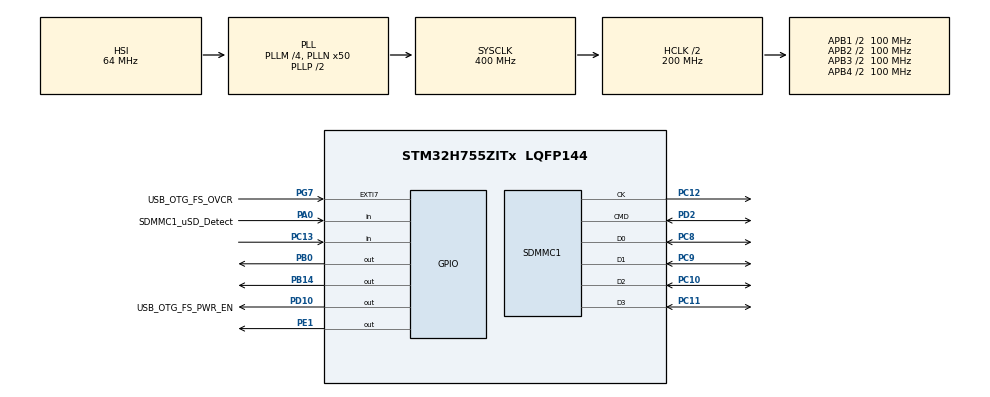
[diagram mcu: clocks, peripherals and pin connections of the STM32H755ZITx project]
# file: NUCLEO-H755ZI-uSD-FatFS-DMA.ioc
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CORTEX_M7.AccessPermission_S-Cortex_Memory_Protection_Unit_Region1_Settings_S=MPU_REGION_FULL_ACCESS
CORTEX_M7.BaseAddress_S-Cortex_Memory_Protection_Unit_Region1_Settings_S=0x24000000
CORTEX_M7.CPU_DCache=Enabled
CORTEX_M7.CPU_ICache=Enabled
CORTEX_M7.Enable_S-Cortex_Memory_Protection_Unit_Region1_Settings_S=MPU_REGION_ENABLE
CORTEX_M7.Size_S-Cortex_Memory_Protection_Unit_Region1_Settings_S=MPU_REGION_SIZE_512KB
CORTEX_M7.TypeExtField_S-Cortex_Memory_Protection_Unit_Region1_Settings_S=MPU_TEX_LEVEL1
CORTEX_M7.default_mode_Activation=1
CortexM4.IPs=FATFS_M4\:I,FREERTOS_M4\:I,IWDG2\:I,RCC,WWDG2\:I,DMA,BDMA,MDMA,NVIC2\:I,ETH,USART3,DEBUG,PDM2PCM_M4\:I,PWR,RESMGR_UTILITY,SYS_M4\:I,USB_DEVICE_M4\:I,USB_HOST_M4\:I,CORTEX_M4\:I,GPIO,OPENAMP_M4\:I,VREFBUF,NUCLEO-H755ZI-Q
CortexM7.IPs=FATFS_M7\:I,FREERTOS_M7\:I,IWDG1\:I,RCC\:I,WWDG1\:I,DMA\:I,BDMA\:I,MDMA\:I,NVIC1\:I,ETH\:I,USART3\:I,USB_OTG_FS\:I,SYS\:I,CORTEX_M7\:I,DEBUG\:I,PDM2PCM_M7\:I,PWR\:I,RESMGR_UTILITY\:I,USB_DEVICE_M7\:I,USB_HOST_M7\:I,GPIO\:I,OPENAMP_M7\:I,VREFBUF\:I,NUCLEO-H755ZI-Q\:I,SDMMC1\:I
FATFS.BSP.number=1
FATFS0.BSP.STBoard=false
FATFS0.BSP.api=Unknown
FATFS0.BSP.instance=PA0
FATFS0.BSP.ip=GPIO
FATFS0.BSP.mode=Input
FATFS0.BSP.name=Detect_SDIO
FATFS0.BSP.solution=PA0
FATFS_M7.USE_DMA_CODE_SD=1
Mcu.Family=STM32H7
Mcu.Name=STM32H755ZITx
Mcu.Package=LQFP144
NUCLEO-H755ZI-Q.BUTTON=1
NUCLEO-H755ZI-Q.Bsp_Common_DEMO=true
NUCLEO-H755ZI-Q.LD1=true
NUCLEO-H755ZI-Q.LD2=true
NUCLEO-H755ZI-Q.LD3=true
NUCLEO-H755ZI-Q.VCP=true
NVIC1.EXTI15_10_IRQn=true\:15\:0\:true\:false\:true\:false\:true\:true
NVIC1.PriorityGroup=NVIC_PRIORITYGROUP_4
NVIC1.SDMMC1_IRQn=true\:14\:0\:true\:false\:true\:true\:true\:true
NVIC2.PriorityGroup=NVIC_PRIORITYGROUP_4
PA0.GPIO_Label=SDMMC1_uSD_Detect
PA0.PinAttribute=Free
PA0.Signal=GPIO_Input
PA1.PinAttribute=CortexM7
PA1.Signal=ETH_REF_CLK
PA11.PinAttribute=CortexM7
PA11.Signal=USB_OTG_FS_DM
PA12.PinAttribute=CortexM7
PA12.Signal=USB_OTG_FS_DP
PA2.PinAttribute=CortexM7
PA2.Signal=ETH_MDIO
PA7.PinAttribute=CortexM7
PA7.Signal=ETH_CRS_DV
PA8.PinAttribute=CortexM7
PA8.Signal=USB_OTG_FS_SOF
PA9.PinAttribute=CortexM7
PA9.Signal=USB_OTG_FS_VBUS
PB0.Signal=GPIO_Output
PB13.PinAttribute=CortexM7
PB13.Signal=ETH_TXD1
PB14.Signal=GPIO_Output
PC1.PinAttribute=CortexM7
PC1.Signal=ETH_MDC
PC10.Mode=SD_4_bits_Wide_bus
PC10.PinAttribute=CortexM7
PC10.Signal=SDMMC1_D2
PC11.Mode=SD_4_bits_Wide_bus
PC11.PinAttribute=CortexM7
PC11.Signal=SDMMC1_D3
PC12.Mode=SD_4_bits_Wide_bus
PC12.PinAttribute=CortexM7
PC12.Signal=SDMMC1_CK
PC13.Signal=GPIO_Input
PC14-OSC32_IN\ (OSC32_IN).PinAttribute=Free
PC14-OSC32_IN\ (OSC32_IN).Signal=RCC_OSC32_IN
PC15-OSC32_OUT\ (OSC32_OUT).PinAttribute=Free
PC15-OSC32_OUT\ (OSC32_OUT).Signal=RCC_OSC32_OUT
PC4.PinAttribute=CortexM7
PC4.Signal=ETH_RXD0
PC5.PinAttribute=CortexM7
PC5.Signal=ETH_RXD1
PC8.Mode=SD_4_bits_Wide_bus
PC8.PinAttribute=CortexM7
PC8.Signal=SDMMC1_D0
PC9.Mode=SD_4_bits_Wide_bus
PC9.PinAttribute=CortexM7
PC9.Signal=SDMMC1_D1
PD10.GPIO_Label=USB_OTG_FS_PWR_EN
PD10.PinAttribute=Free
PD10.Signal=GPIO_Output
PD2.Mode=SD_4_bits_Wide_bus
PD2.PinAttribute=CortexM7
PD2.Signal=SDMMC1_CMD
PD8.Signal=USART3_TX
PD9.Signal=USART3_RX
PE1.Signal=GPIO_Output
PG11.PinAttribute=CortexM7
PG11.Signal=ETH_TX_EN
PG13.PinAttribute=CortexM7
PG13.Signal=ETH_TXD0
PG7.GPIO_Label=USB_OTG_FS_OVCR
PG7.PinAttribute=Free
PG7.Signal=GPXTI7
PH0-OSC_IN\ (PH0).PinAttribute=Free
PH0-OSC_IN\ (PH0).Signal=RCC_OSC_IN
PH1-OSC_OUT\ (PH1).PinAttribute=Free
PH1-OSC_OUT\ (PH1).Signal=RCC_OSC_OUT
ProjectManager.HeapSize=M4-0x400,M7-0x400
ProjectManager.StackSize=M4-0x800,M7-0x800
ProjectManager.TargetToolchain=STM32CubeIDE
RCC.ADCFreq_Value=129000000
RCC.APB1Freq_Value=100000000
RCC.APB2Freq_Value=100000000
RCC.APB3Freq_Value=100000000
RCC.APB4Freq_Value=100000000
RCC.CortexFreq_Value=400000000
RCC.D1PPRE=RCC_APB3_DIV2
RCC.D2PPRE1=RCC_APB1_DIV2
RCC.D2PPRE2=RCC_APB2_DIV2
RCC.D3PPRE=RCC_APB4_DIV2
RCC.DIVM1=4
RCC.DIVN1=50
RCC.DIVQ1=4
RCC.HCLKFreq_Value=200000000
RCC.HPRE=RCC_HCLK_DIV2
RCC.PLL2FRACN=0
RCC.PLL3FRACN=0
RCC.PLLFRACN=0
RCC.SYSCLKFreq_VALUE=400000000
RCC.SYSCLKSource=RCC_SYSCLKSOURCE_PLLCLK
RCC.SupplySource=PWR_DIRECT_SMPS_SUPPLY
RCC.USBFreq_Value=200000000
SDMMC1.ClockDiv=SDMMC_NSPEED_CLK_DIV
VP_FATFS_M7_VS_SDIO.Mode=SDIO
VP_NUCLEO-H755ZI-Q_VS_BSP_COMMON.Mode=COMMON
VP_SYS_M4_VS_Systick.Mode=SysTick
board=NUCLEO-H755ZI-Q

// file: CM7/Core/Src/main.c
/* USER CODE BEGIN Header */
/**
  ******************************************************************************
  * @file           : main.c
  * @brief          : Main program body
  ******************************************************************************
  * @attention
  *
  * Copyright (c) 2024 STMicroelectronics.
  * All rights reserved.
  *
  * This software is licensed under terms that can be found in the LICENSE file
  * in the root directory of this software component.
  * If no LICENSE file comes with this software, it is provided AS-IS.
  *
  ******************************************************************************
  */
/* USER CODE END Header */
#include "main.h"
#include "fatfs.h"

/* USER CODE BEGIN PD */

#ifndef HSEM_ID_0
#define HSEM_ID_0 (0U) /* HW semaphore 0*/
#endif

/* USER CODE END PD */

COM_InitTypeDef BspCOMInit;
__IO uint32_t BspButtonState = BUTTON_RELEASED;

SD_HandleTypeDef hsd1;

void SystemClock_Config(void);
static void MPU_Config(void);
static void MX_GPIO_Init(void);
static void MX_SDMMC1_SD_Init(void);
/* USER CODE BEGIN PFP */

static void FS_FormatDisk(void);
static void FS_FileOperations(void);
static uint8_t Buffercmp(uint8_t* pBuffer1, uint8_t* pBuffer2, uint32_t BufferLength);

/* USER CODE END PFP */

/* USER CODE BEGIN 0 */

uint8_t workBuffer[_MAX_SS];

/*
 * ensure that the read buffer 'rtext' is 32-Byte aligned in address and size
 * to guarantee that any other data in the cache won't be affected when the 'rtext'
 * is being invalidated.
 */
ALIGN_32BYTES(uint8_t rtext[64]);

/* USER CODE END 0 */

int main(void)
{

/* USER CODE BEGIN Boot_Mode_Sequence_0 */
  int32_t timeout;
/* USER CODE END Boot_Mode_Sequence_0 */

  /* MPU Configuration--------------------------------------------------------*/
  MPU_Config();

  /* Enable the CPU Cache */

  /* Enable I-Cache---------------------------------------------------------*/
  SCB_EnableICache();

  /* Enable D-Cache---------------------------------------------------------*/
  SCB_EnableDCache();

/* USER CODE BEGIN Boot_Mode_Sequence_1 */
  /* Wait until CPU2 boots and enters in stop mode or timeout*/
  timeout = 0xFFFF;
  while ((__HAL_RCC_GET_FLAG(RCC_FLAG_D2CKRDY) != RESET) && (timeout-- > 0));
  if (timeout < 0)
  {
    Error_Handler();
  }
/* USER CODE END Boot_Mode_Sequence_1 */
  /* MCU Configuration--------------------------------------------------------*/

  /* Reset of all peripherals, Initializes the Flash interface and the Systick. */
  HAL_Init();

  /* Configure the system clock */
  SystemClock_Config();
/* USER CODE BEGIN Boot_Mode_Sequence_2 */
  /* When system initialization is finished, Cortex-M7 will release Cortex-M4 by means of
   HSEM notification */
  /*HW semaphore Clock enable*/
  __HAL_RCC_HSEM_CLK_ENABLE();
  /*Take HSEM */
  HAL_HSEM_FastTake(HSEM_ID_0);
  /*Release HSEM in order to notify the CPU2(CM4)*/
  HAL_HSEM_Release(HSEM_ID_0, 0);
  /* wait until CPU2 wakes up from stop mode */
  timeout = 0xFFFF;
  while ((__HAL_RCC_GET_FLAG(RCC_FLAG_D2CKRDY) == RESET) && (timeout-- > 0));
  if (timeout < 0)
  {
    Error_Handler();
  }
/* USER CODE END Boot_Mode_Sequence_2 */

  /* Initialize all configured peripherals */
  MX_GPIO_Init();
  MX_SDMMC1_SD_Init();
  MX_FATFS_Init();

  /* Initialize leds */
  BSP_LED_Init(LED_GREEN);
  BSP_LED_Init(LED_YELLOW);
  BSP_LED_Init(LED_RED);

  /* Initialize USER push-button, will be used to trigger an interrupt each time it's pressed.*/
  BSP_PB_Init(BUTTON_USER, BUTTON_MODE_EXTI);

  /* Initialize COM1 port (115200, 8 bits (7-bit data + 1 stop bit), no parity */
  BspCOMInit.BaudRate   = 115200;
  BspCOMInit.WordLength = COM_WORDLENGTH_8B;
  BspCOMInit.StopBits   = COM_STOPBITS_1;
  BspCOMInit.Parity     = COM_PARITY_NONE;
  BspCOMInit.HwFlowCtl  = COM_HWCONTROL_NONE;
  if (BSP_COM_Init(COM1, &BspCOMInit) != BSP_ERROR_NONE)
  {
    Error_Handler();
  }

  /* USER CODE BEGIN BSP */
  /* -- Sample board code to send message over COM1 port ---- */
  printf("[CORE_CM7]: Program Starting... \r\n");

  BSP_LED_On(LED_YELLOW);

//  FS_FormatDisk();
  FS_FileOperations();

  BSP_LED_Off(LED_YELLOW);

  /* USER CODE END BSP */

  /* Infinite loop */
  while (1)
  {

    /* USER CODE BEGIN 3 */

    /* -- Sample board code for User push-button in interrupt mode ---- */
    if (BspButtonState == BUTTON_PRESSED)
    {
      /* Update button state */
      BspButtonState = BUTTON_RELEASED;
      /* ..... Perform your action ..... */
      printf("[CORE_CM7] EventCallback: User Button has been pressed!\r\n");
    }
  }
  /* USER CODE END 3 */
}

void SystemClock_Config(void)
{
  RCC_OscInitTypeDef RCC_OscInitStruct = {0};
  RCC_ClkInitTypeDef RCC_ClkInitStruct = {0};

  /** Supply configuration update enable
  */
  HAL_PWREx_ConfigSupply(PWR_DIRECT_SMPS_SUPPLY);

  /** Configure the main internal regulator output voltage
  */
  __HAL_PWR_VOLTAGESCALING_CONFIG(PWR_REGULATOR_VOLTAGE_SCALE1);

  while(!__HAL_PWR_GET_FLAG(PWR_FLAG_VOSRDY)) {}

  /** Initializes the RCC Oscillators according to the specified parameters
  * in the RCC_OscInitTypeDef structure.
  */
  RCC_OscInitStruct.OscillatorType = RCC_OSCILLATORTYPE_HSI;
  RCC_OscInitStruct.HSIState = RCC_HSI_DIV1;
  RCC_OscInitStruct.HSICalibrationValue = RCC_HSICALIBRATION_DEFAULT;
  RCC_OscInitStruct.PLL.PLLState = RCC_PLL_ON;
  RCC_OscInitStruct.PLL.PLLSource = RCC_PLLSOURCE_HSI;
  RCC_OscInitStruct.PLL.PLLM = 4;
  RCC_OscInitStruct.PLL.PLLN = 50;
  RCC_OscInitStruct.PLL.PLLP = 2;
  RCC_OscInitStruct.PLL.PLLQ = 4;
  RCC_OscInitStruct.PLL.PLLR = 2;
  RCC_OscInitStruct.PLL.PLLRGE = RCC_PLL1VCIRANGE_3;
  RCC_OscInitStruct.PLL.PLLVCOSEL = RCC_PLL1VCOWIDE;
  RCC_OscInitStruct.PLL.PLLFRACN = 0;
  if (HAL_RCC_OscConfig(&RCC_OscInitStruct) != HAL_OK)
  {
    Error_Handler();
  }

  /** Initializes the CPU, AHB and APB buses clocks
  */
  RCC_ClkInitStruct.ClockType = RCC_CLOCKTYPE_HCLK|RCC_CLOCKTYPE_SYSCLK
                              |RCC_CLOCKTYPE_PCLK1|RCC_CLOCKTYPE_PCLK2
                              |RCC_CLOCKTYPE_D3PCLK1|RCC_CLOCKTYPE_D1PCLK1;
  RCC_ClkInitStruct.SYSCLKSource = RCC_SYSCLKSOURCE_PLLCLK;
  RCC_ClkInitStruct.SYSCLKDivider = RCC_SYSCLK_DIV1;
  RCC_ClkInitStruct.AHBCLKDivider = RCC_HCLK_DIV2;
  RCC_ClkInitStruct.APB3CLKDivider = RCC_APB3_DIV2;
  RCC_ClkInitStruct.APB1CLKDivider = RCC_APB1_DIV2;
  RCC_ClkInitStruct.APB2CLKDivider = RCC_APB2_DIV2;
  RCC_ClkInitStruct.APB4CLKDivider = RCC_APB4_DIV2;

  if (HAL_RCC_ClockConfig(&RCC_ClkInitStruct, FLASH_LATENCY_2) != HAL_OK)
  {
    Error_Handler();
  }
}

static void MX_SDMMC1_SD_Init(void)
{

  hsd1.Instance = SDMMC1;
  hsd1.Init.ClockEdge = SDMMC_CLOCK_EDGE_RISING;
  hsd1.Init.ClockPowerSave = SDMMC_CLOCK_POWER_SAVE_DISABLE;
  hsd1.Init.BusWide = SDMMC_BUS_WIDE_4B;
  hsd1.Init.HardwareFlowControl = SDMMC_HARDWARE_FLOW_CONTROL_DISABLE;
  hsd1.Init.ClockDiv = SDMMC_NSPEED_CLK_DIV;
  if (HAL_SD_Init(&hsd1) != HAL_OK)
  {
    Error_Handler();
  }

}

static void MX_GPIO_Init(void)
{
  GPIO_InitTypeDef GPIO_InitStruct = {0};

  /* GPIO Ports Clock Enable */
  __HAL_RCC_GPIOC_CLK_ENABLE();
  __HAL_RCC_GPIOA_CLK_ENABLE();
  __HAL_RCC_GPIOB_CLK_ENABLE();
  __HAL_RCC_GPIOD_CLK_ENABLE();
  __HAL_RCC_GPIOG_CLK_ENABLE();

  /*Configure GPIO pins : PC1 PC4 PC5 */
  GPIO_InitStruct.Pin = GPIO_PIN_1|GPIO_PIN_4|GPIO_PIN_5;
  GPIO_InitStruct.Mode = GPIO_MODE_AF_PP;
  GPIO_InitStruct.Pull = GPIO_NOPULL;
  GPIO_InitStruct.Speed = GPIO_SPEED_FREQ_LOW;
  GPIO_InitStruct.Alternate = GPIO_AF11_ETH;
  HAL_GPIO_Init(GPIOC, &GPIO_InitStruct);

  /*Configure GPIO pin : SDMMC1_uSD_Detect_Pin */
  GPIO_InitStruct.Pin = SDMMC1_uSD_Detect_Pin;
  GPIO_InitStruct.Mode = GPIO_MODE_INPUT;
  GPIO_InitStruct.Pull = GPIO_NOPULL;
  HAL_GPIO_Init(SDMMC1_uSD_Detect_GPIO_Port, &GPIO_InitStruct);

  /*Configure GPIO pins : PA1 PA2 PA7 */
  GPIO_InitStruct.Pin = GPIO_PIN_1|GPIO_PIN_2|GPIO_PIN_7;
  GPIO_InitStruct.Mode = GPIO_MODE_AF_PP;
  GPIO_InitStruct.Pull = GPIO_NOPULL;
  GPIO_InitStruct.Speed = GPIO_SPEED_FREQ_LOW;
  GPIO_InitStruct.Alternate = GPIO_AF11_ETH;
  HAL_GPIO_Init(GPIOA, &GPIO_InitStruct);

  /*Configure GPIO pin : PB13 */
  GPIO_InitStruct.Pin = GPIO_PIN_13;
  GPIO_InitStruct.Mode = GPIO_MODE_AF_PP;
  GPIO_InitStruct.Pull = GPIO_NOPULL;
  GPIO_InitStruct.Speed = GPIO_SPEED_FREQ_LOW;
  GPIO_InitStruct.Alternate = GPIO_AF11_ETH;
  HAL_GPIO_Init(GPIOB, &GPIO_InitStruct);

  /*Configure GPIO pins : PA8 PA11 PA12 */
  GPIO_InitStruct.Pin = GPIO_PIN_8|GPIO_PIN_11|GPIO_PIN_12;
  GPIO_InitStruct.Mode = GPIO_MODE_AF_PP;
  GPIO_InitStruct.Pull = GPIO_NOPULL;
  GPIO_InitStruct.Speed = GPIO_SPEED_FREQ_LOW;
  GPIO_InitStruct.Alternate = GPIO_AF10_OTG1_FS;
  HAL_GPIO_Init(GPIOA, &GPIO_InitStruct);

  /*Configure GPIO pins : PG11 PG13 */
  GPIO_InitStruct.Pin = GPIO_PIN_11|GPIO_PIN_13;
  GPIO_InitStruct.Mode = GPIO_MODE_AF_PP;
  GPIO_InitStruct.Pull = GPIO_NOPULL;
  GPIO_InitStruct.Speed = GPIO_SPEED_FREQ_LOW;
  GPIO_InitStruct.Alternate = GPIO_AF11_ETH;
  HAL_GPIO_Init(GPIOG, &GPIO_InitStruct);

}

/* USER CODE BEGIN 4 */

/**
 * @brief Format the disk with the FatFs file system.
 *
 * This function mounts the file system, formats the SD card,
 * and provides diagnostic prints for each step. If any operation
 * fails, it calls Error_Handler().
 *
 * @note Ensure that the file system is properly mounted and the
 *       SD card is inserted before calling this function.
 */
static void FS_FormatDisk(void)
{
  FRESULT fres; /* FatFs function common result code */

  /* Mount the file system */
  fres = f_mount(&SDFatFS, (TCHAR const*)SDPath, 0);
  if (fres == FR_OK)
  {
    printf("[CORE_CM7/FatFs]: Successfully mounted SD Card\n");

    /* Format the file system */
    fres = f_mkfs((TCHAR const*)SDPath, FM_ANY, 0, workBuffer, sizeof(workBuffer));
    if (fres == FR_OK)
    {
      printf("[CORE_CM7/FatFs]: Successfully formatted SD Card\n");
      return;
    }
  }

  /* Error handling */
  Error_Handler();
}

/**
 * @brief Performs file operations on an SD card using the FatFs library.
 *
 * This function mounts the file system, creates and opens a text file for writing,
 * writes data to the file, closes the file, then reopens it for reading, and finally
 * reads the data back. It compares the read data with the written data to ensure
 * the integrity of the file operations. If any operation fails, it calls the
 * Error_Handler() function.
 *
 * @note Ensure that the file system is properly mounted and the
 *       SD card is inserted before calling this function.
 *
 * @return void
 */
static void FS_FileOperations(void)
{
  FRESULT res;                      /* FatFs function common result code */
  uint32_t bytesWritten, bytesRead; /* File write/read counts */
  uint8_t wtext[] = "[CORE_CM7]: This is STM32 working with FatFs + DMA"; /* File write buffer */

  /* Mount the file system */
  res = f_mount(&SDFatFS, (TCHAR const*)SDPath, 0);
  if (res != FR_OK)
  {
    printf("[CORE_CM7/FatFs]: Failed to mount SD card (error code: %d)\n", res);
    Error_Handler();
  }
  else
  {
    printf("[CORE_CM7/FatFs]: Successfully mounted SD Card\n");

    /* Open or create a new text file for writing */
    res = f_open(&SDFile, "STM32.TXT", FA_CREATE_ALWAYS | FA_WRITE);
    if (res != FR_OK)
    {
      printf("[CORE_CM7/FatFs]: Failed to open file for writing (error code: %d)\n", res);
      Error_Handler();
    }
    else
    {
      printf("[CORE_CM7/FatFs]: Successfully opened file for writing\n");

      /* Write data to the text file */
      res = f_write(&SDFile, wtext, sizeof(wtext), (void*)&bytesWritten);
      if (res != FR_OK || bytesWritten != sizeof(wtext))
      {
        printf("[CORE_CM7/FatFs]: Failed to write data to file (error code: %d, bytes "
               "written: %lu)\n",
               res, bytesWritten);
        Error_Handler();
      }
      else
      {
        printf("[CORE_CM7/FatFs]: Data successfully written to file (bytes written: %lu)\n",
               bytesWritten);

        /* Close the text file after writing */
        f_close(&SDFile);

        /* Open the text file for reading */
        res = f_open(&SDFile, "STM32.TXT", FA_READ);
        if (res != FR_OK)
        {
          printf("[CORE_CM7/FatFs]: Failed to open file for reading (error code: %d)\n", res);
          Error_Handler();
        }
        else
        {
          printf("[CORE_CM7/FatFs]: Successfully opened file for reading\n");

          /* Read data from the text file */
          res = f_read(&SDFile, rtext, sizeof(wtext), (void*)&bytesRead);
          if (res != FR_OK || bytesRead != bytesWritten)
          {
            printf("[CORE_CM7/FatFs]: Failed to read the correct amount of data (error code: %d, "
                   "bytes read: %lu, expected: %lu)\n",
                   res, bytesRead, bytesWritten);
            Error_Handler();
          }
          else
          {
            printf("[CORE_CM7/FatFs]: Data successfully read from file (bytes read: %lu)\n",
                   bytesRead);

            /* Close the text file after reading */
            f_close(&SDFile);

            /* Compare read data with the written data */
            if (Buffercmp(rtext, wtext, bytesWritten) == 0)
            {
              printf("[CORE_CM7/FatFs]: Data written and read are identical\n");
              BSP_LED_On(LED_GREEN);
              return;
            }
            else
            {
              printf("[CORE_CM7/FatFs]: Data mismatch\n");
              Error_Handler();
            }
          }
        }
      }
    }
  }

  /* If any error occurs, handle it here */
  Error_Handler();
}

/**
 * @brief  Compares two buffers.
 * @param  pBuffer1, pBuffer2: buffers to be compared.
 * @param  BufferLength: buffer's length
 * @retval 1: pBuffer identical to pBuffer1
 *         0: pBuffer differs from pBuffer1
 */
static uint8_t Buffercmp(uint8_t* pBuffer1, uint8_t* pBuffer2, uint32_t BufferLength)
{
  while (BufferLength--)
  {
    if (*pBuffer1 != *pBuffer2)
    {
      return 1;
    }

    pBuffer1++;
    pBuffer2++;
  }
  return 0;
}

/* USER CODE END 4 */

 /* MPU Configuration */

void MPU_Config(void)
{
  MPU_Region_InitTypeDef MPU_InitStruct = {0};

  /* Disables the MPU */
  HAL_MPU_Disable();

  /** Initializes and configures the Region and the memory to be protected
  */
  MPU_InitStruct.Enable = MPU_REGION_ENABLE;
  MPU_InitStruct.Number = MPU_REGION_NUMBER0;
  MPU_InitStruct.BaseAddress = 0x0;
  MPU_InitStruct.Size = MPU_REGION_SIZE_4GB;
  MPU_InitStruct.SubRegionDisable = 0x87;
  MPU_InitStruct.TypeExtField = MPU_TEX_LEVEL0;
  MPU_InitStruct.AccessPermission = MPU_REGION_NO_ACCESS;
  MPU_InitStruct.DisableExec = MPU_INSTRUCTION_ACCESS_DISABLE;
  MPU_InitStruct.IsShareable = MPU_ACCESS_SHAREABLE;
  MPU_InitStruct.IsCacheable = MPU_ACCESS_NOT_CACHEABLE;
  MPU_InitStruct.IsBufferable = MPU_ACCESS_NOT_BUFFERABLE;

  HAL_MPU_ConfigRegion(&MPU_InitStruct);

  /** Initializes and configures the Region and the memory to be protected
  */
  MPU_InitStruct.Number = MPU_REGION_NUMBER1;
  MPU_InitStruct.BaseAddress = 0x24000000;
  MPU_InitStruct.Size = MPU_REGION_SIZE_512KB;
  MPU_InitStruct.SubRegionDisable = 0x0;
  MPU_InitStruct.TypeExtField = MPU_TEX_LEVEL1;
  MPU_InitStruct.AccessPermission = MPU_REGION_FULL_ACCESS;
  MPU_InitStruct.DisableExec = MPU_INSTRUCTION_ACCESS_ENABLE;
  MPU_InitStruct.IsShareable = MPU_ACCESS_NOT_SHAREABLE;

  HAL_MPU_ConfigRegion(&MPU_InitStruct);
  /* Enables the MPU */
  HAL_MPU_Enable(MPU_PRIVILEGED_DEFAULT);

}

/**
  * @brief  BSP Push Button callback
  * @param  Button Specifies the pressed button
  * @retval None
  */
void BSP_PB_Callback(Button_TypeDef Button)
{
  if (Button == BUTTON_USER)
  {
    BspButtonState = BUTTON_PRESSED;
  }
}

void Error_Handler(void)
{
  /* USER CODE BEGIN Error_Handler_Debug */
  /* User can add his own implementation to report the HAL error return state */
//  __disable_irq();
  BSP_LED_Off(LED_YELLOW);
  BSP_LED_On(LED_RED);
  while (1)
  {
    BSP_LED_Toggle(LED_RED);
    HAL_Delay(50);
  }
  /* USER CODE END Error_Handler_Debug */
}
